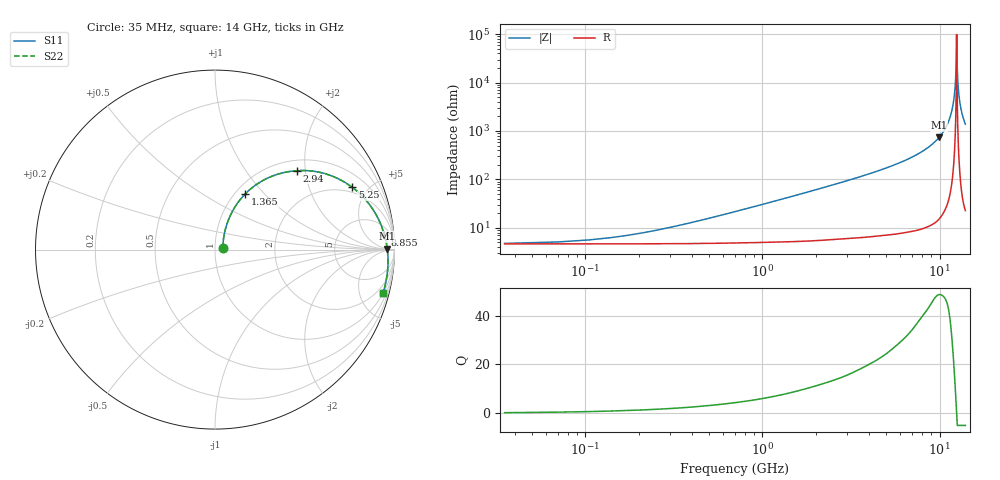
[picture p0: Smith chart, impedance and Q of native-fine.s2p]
! Public IHP L6n2 fixture; full measured-incident-matrix conversion.
! Source 0f87e9d069de3e88bdfdc5bb30d4a0958f045d32; mesh 1 um.
! Geometry-specific reference result; not a general IHP compact model.
# Hz S RI R 50
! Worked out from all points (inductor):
!   400 points, 35 MHz to 14 GHz, reference 50 ohm
!   read as one part in series: L = 4.78 nH near 490 MHz
!   highest Q = 48.6 at 9.94 GHz (marker M1), where L = 11.8 nH
!   self-resonance near 12.49 GHz
!   S11 on the Smith chart (normalised r, x): 35 MHz: 1.09, +0.02; 1.365 GHz: 1.11, +0.78; 2.94 GHz: 1.22, +1.80; 5.25 GHz: 1.68, +3.95; 8.855 GHz: 10, +17; 14 GHz: 1.07, -7.75
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3.5e7  0.0434 0.00896  0.9541 -0.0104  0.954 -0.0103  0.0434 0.00896
5.95e8  0.0685 0.1488  0.9213 -0.1687  0.9214 -0.1687  0.0686 0.1488
1.365e9  0.1672 0.3091  0.8107 -0.3371  0.8107 -0.3371  0.1672 0.3089
2.38e9  0.3551 0.4218  0.62 -0.4587  0.62 -0.4587  0.3551 0.4216
2.94e9  0.4573 0.4399  0.5162 -0.4828  0.5162 -0.4828  0.4573 0.4397
4.69e9  0.7085 0.3834  0.2626 -0.4457  0.2626 -0.4457  0.7085 0.3831
5.25e9  0.7649 0.3471  0.2055 -0.4157  0.2055 -0.4157  0.7648 0.3467
7.035e9  0.8853 0.2154  0.0826 -0.305  0.0826 -0.305  0.8852 0.2149
8.855e9  0.9443 0.0813  0.0207 -0.1926  0.0207 -0.1926  0.9441 0.0806
9.345e9  0.9528 0.0468  0.0114 -0.1641  0.0114 -0.1641  0.9525 0.0461
9.94e9  0.9597 0.00584  0.00345 -0.1304  0.00344 -0.1304  0.9594 0.00519
1.099e10  0.9642 -0.0631  -0.00317 -0.0742  -0.00315 -0.0742  0.9638 -0.0638
1.169e10  0.9627 -0.1072  -0.00307 -0.0388  -0.00308 -0.0389  0.9623 -0.1079
1.204e10  0.9605 -0.1286  -0.00179 -0.0218  -0.00181 -0.0218  0.9602 -0.1294
1.2285e10  0.9586 -0.1432  -0.00046 -0.0101  -0.000468 -0.0101  0.9582 -0.1441
1.2425e10  0.9574 -0.1515  0.000444 -0.00354  0.000448 -0.00352  0.957 -0.1524
1.2495e10  0.9568 -0.1556  0.000936 -0.00028  0.000945 -0.000258  0.9563 -0.1565
1.2565e10  0.9561 -0.1597  0.00145 0.00297  0.00147 0.00299  0.9556 -0.1605
1.2635e10  0.9554 -0.1638  0.002 0.0062  0.00202 0.00622  0.9549 -0.1646
1.2845e10  0.9532 -0.176  0.00378 0.0158  0.00381 0.0158  0.9527 -0.1768
1.33e10  0.9475 -0.2022  0.0085 0.0362  0.0085 0.0362  0.947 -0.2029
1.4e10  0.9358 -0.2409  0.018 0.0662  0.0179 0.0663  0.9354 -0.242
